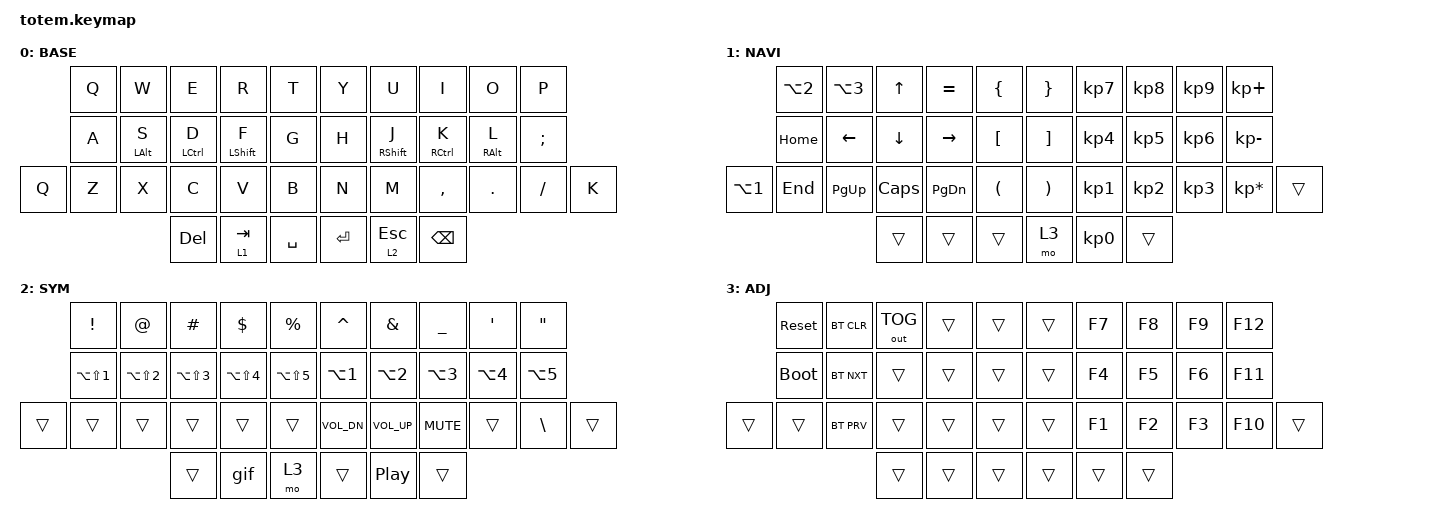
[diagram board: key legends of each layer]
//
//                                                        ▀▀▀▀▀     ▀▀▀▀▀          ▀▀█▀▀
//                                                        ▄▀▀▀▄  ▄  ▄▀▀▀▄  ▄  ▄▀▀▀▄  █  ▄▀▀▀▄
//                                                        █   █  █  █   █  █  █   █  █  █   █
//                                                         ▀▀▀   █   ▀▀▀   █   ▀▀▀   ▀   ▀▀▀
//                                                               █      ▄▄▄█▄▄▄    █   █  
//                                                               ▀      █  █  █     █▄█
//                                                             ▀▀▀▀▀    █  █  █      ▀
//                                                                      ▀  ▀  ▀
//
// ▄▄▄▄▄▄▄▄▄▄▄▄▄▄▄▄▄▄▄▄▄▄▄▄▄▄▄▄▄▄▄▄▄▄▄▄▄▄▄▄▄▄▄▄▄▄▄▄▄▄▄▄▄▄▄▄▄▄▄▄▄▄▄▄▄▄▄▄▄▄▄▄▄▄▄▄▄▄▄▄▄▄▄▄▄▄▄▄▄▄▄▄▄▄▄▄▄▄▄▄▄▄▄▄▄▄▄▄▄▄▄▄▄▄▄▄▄▄▄▄▄▄▄▄▄▄▄▄▄▄▄▄▄▄▄▄▄▄▄▄▄▄▄▄▄▄▄▄▄

#include <behaviors.dtsi>
#include <dt-bindings/zmk/bt.h>
#include <dt-bindings/zmk/keys.h>
#include <dt-bindings/zmk/outputs.h>

#define BASE 0
#define NAV  1
#define SYM  2
#define ADJ  3
#define TVP1 4
#define TVP2 5

&mt {
    quick-tap-ms = <100>;
    global-quick-tap;
    flavor = "tap-preferred";
    tapping-term-ms = <170>;
};

/ {
    combos {
        compatible = "zmk,combos";

        combo_esc {
            timeout-ms = <50>;
            key-positions = <0 1>;
            bindings = <&kp ESC>;
        };

        combo_tvp {
            timeout-ms = <100>;
            key-positions = <11 12 13>;
            bindings = <&tog 0>;
        };

        enter {
            bindings = <&kp ENTER>;
            key-positions = <3 4>;
        };
    };

    macros {
        gif: gif {
            label = "giphy";
            compatible = "zmk,behavior-macro";
            #binding-cells = <0>;
            bindings =
                <&macro_press>,
                <&kp LSHFT>,
                <&macro_tap>,
                <&kp N2>,
                <&macro_release>,
                <&kp LSHFT>,
                <&macro_tap>,
                <&kp G &kp I &kp F>;
        };
    };

    keymap {
        compatible = "zmk,keymap";

        // ▄▄▄▄▄▄▄▄▄▄▄▄▄▄▄▄▄▄▄▄▄▄▄▄▄▄▄▄▄▄▄▄▄▄▄▄▄▄▄▄▄▄▄▄▄▄▄▄▄▄▄▄▄▄▄▄▄▄▄▄▄▄▄▄▄▄▄▄▄▄▄▄▄▄▄▄▄▄▄▄▄▄▄▄▄▄▄▄▄▄▄▄▄▄▄▄▄▄▄▄▄▄▄▄▄▄▄▄▄▄▄▄▄▄▄▄▄▄▄▄▄▄▄▄▄▄▄▄▄▄▄▄▄▄▄▄▄▄▄▄▄▄▄▄▄▄▄▄▄

        base_layer {
            // ┏━━━━━━━━━━━━━━━━━━━━━━━━━━━━━━━━━━━━━━━┓

            label = "BASE";

            // ┗━━━━━━━━━━━━━━━━━━━━━━━━━━━━━━━━━━━━━━━┛
            //             ┏━━━━━━━━━━━┳━━━━━━━━━━━┳━━━━━━━━━━━┳━━━━━━━━━━━┳━━━━━━━━━━━┓   ┏━━━━━━━━━━━┳━━━━━━━━━━━┳━━━━━━━━━━━┳━━━━━━━━━━━┳━━━━━━━━━━━┓
            //             ┃     Q     ┃     W     ┃     F     ┃     P     ┃     G     ┃   ┃     J     ┃     L     ┃     U     ┃     Y     ┃     ;     ┃
            //             ┣━━━━━━━━━━━╋━━━━━━━━━━━╋━━━━━━━━━━━╋━━━━━━━━━━━╋━━━━━━━━━━━┫   ┣━━━━━━━━━━━╋━━━━━━━━━━━╋━━━━━━━━━━━╋━━━━━━━━━━━╋━━━━━━━━━━━┫
            //             ┃     A     ┃     R     ┃     S     ┃     T     ┃     D     ┃   ┃     H     ┃     N     ┃     E     ┃     I     ┃     O     ┃
            // ┏━━━━━━━━━━━╋━━━━━━━━━━━╋━━━━━━━━━━━╋━━━━━━━━━━━╋━━━━━━━━━━━╋━━━━━━━━━━━┫   ┣━━━━━━━━━━━╋━━━━━━━━━━━╋━━━━━━━━━━━╋━━━━━━━━━━━╋━━━━━━━━━━━╋━━━━━━━━━━━┓
            // ┃     Q     ┃     Z     ┃     X     ┃     C     ┃     V     ┃     B     ┃   ┃     K     ┃     M     ┃     ,     ┃     .     ┃     /     ┃     \     ┃
            // ┗━━━━━━━━━━━┻━━━━━━━━━━━┻━━━━━━━━━━━╋━━━━━━━━━━━╋━━━━━━━━━━━╋━━━━━━━━━━━┫   ┣━━━━━━━━━━━╋━━━━━━━━━━━╋━━━━━━━━━━━╋━━━━━━━━━━━┻━━━━━━━━━━━┻━━━━━━━━━━━┛
            //                                     ┃    DEL    ┃    TAB    ┃    SPC    ┃   ┃   ENTER   ┃           ┃   BSPC    ┃
            //                                     ┗━━━━━━━━━━━┻━━━━━━━━━━━┻━━━━━━━━━━━┛   ┗━━━━━━━━━━━┻━━━━━━━━━━━┻━━━━━━━━━━━┛

            bindings = <
       &kp Q  &kp W       &kp E        &kp R        &kp T        &kp Y    &kp U        &kp I        &kp O       &kp P
       &kp A  &mt LALT S  &mt LCTRL D  &mt LSHFT F  &kp G        &kp H    &mt RSHFT J  &mt RCTRL K  &mt RALT L  &kp SEMICOLON
&kp Q  &kp Z  &kp X       &kp C        &kp V        &kp B        &kp N    &kp M        &kp COMMA    &kp DOT     &kp FSLH       &kp K
                          &kp DEL      &lt 1 TAB    &kp SPACE    &kp RET  &lt 2 ESC    &kp BSPC
            >;
        };

        // ▄▄▄▄▄▄▄▄▄▄▄▄▄▄▄▄▄▄▄▄▄▄▄▄▄▄▄▄▄▄▄▄▄▄▄▄▄▄▄▄▄▄▄▄▄▄▄▄▄▄▄▄▄▄▄▄▄▄▄▄▄▄▄▄▄▄▄▄▄▄▄▄▄▄▄▄▄▄▄▄▄▄▄▄▄▄▄▄▄▄▄▄▄▄▄▄▄▄▄▄▄▄▄▄▄▄▄▄▄▄▄▄▄▄▄▄▄▄▄▄▄▄▄▄▄▄▄▄▄▄▄▄▄▄▄▄▄▄▄▄▄▄▄▄▄▄▄▄▄

        nav_layer {
            // ┏━━━━━━━━━━━━━━━━━━━━━━━━━━━━━━━━━━━━━━━┓

            label = "NAVI";

            // ┗━━━━━━━━━━━━━━━━━━━━━━━━━━━━━━━━━━━━━━━┛
            //             ┏━━━━━━━━━━━┳━━━━━━━━━━━┳━━━━━━━━━━━┳━━━━━━━━━━━┳━━━━━━━━━━━┓   ┏━━━━━━━━━━━┳━━━━━━━━━━━┳━━━━━━━━━━━┳━━━━━━━━━━━┳━━━━━━━━━━━┓
            //             ┃           ┃           ┃     UP    ┃           ┃     {     ┃   ┃     }     ┃     7     ┃     8     ┃     9     ┃     +     ┃
            //             ┣━━━━━━━━━━━╋━━━━━━━━━━━╋━━━━━━━━━━━╋━━━━━━━━━━━╋━━━━━━━━━━━┫   ┣━━━━━━━━━━━╋━━━━━━━━━━━╋━━━━━━━━━━━╋━━━━━━━━━━━╋━━━━━━━━━━━┫
            //             ┃   SHIFT   ┃   LEFT    ┃    DOWN   ┃   RIGHT   ┃     [     ┃   ┃     ]     ┃     4     ┃     5     ┃     6     ┃     -     ┃
            // ┏━━━━━━━━━━━╋━━━━━━━━━━━╋━━━━━━━━━━━╋━━━━━━━━━━━╋━━━━━━━━━━━╋━━━━━━━━━━━┫   ┣━━━━━━━━━━━╋━━━━━━━━━━━╋━━━━━━━━━━━╋━━━━━━━━━━━╋━━━━━━━━━━━╋━━━━━━━━━━━┓
            // ┃           ┃           ┃   P UP    ┃  C LOCK   ┃  P DOWN   ┃     (     ┃   ┃     )     ┃     1     ┃     2     ┃     3     ┃     *     ┃           ┃
            // ┗━━━━━━━━━━━┻━━━━━━━━━━━┻━━━━━━━━━━━╋━━━━━━━━━━━╋━━━━━━━━━━━╋━━━━━━━━━━━┫   ┣━━━━━━━━━━━╋━━━━━━━━━━━╋━━━━━━━━━━━╋━━━━━━━━━━━┻━━━━━━━━━━━┻━━━━━━━━━━━┛
            //                                     ┃           ┃    TAB    ┃    SPC    ┃   ┃    DEL    ┃     0     ┃           ┃
            //                                     ┗━━━━━━━━━━━┻━━━━━━━━━━━┻━━━━━━━━━━━┛   ┗━━━━━━━━━━━┻━━━━━━━━━━━┻━━━━━━━━━━━┛

            bindings = <
                  &kp LA(NUMBER_2)  &kp LA(NUMBER_3)  &kp UP    &kp EQUAL  &kp LBRC    &kp RBRC  &kp KP_N7  &kp KP_N8  &kp KP_N9  &kp KP_PLUS
                  &kp HOME          &kp LEFT          &kp DOWN  &kp RIGHT  &kp LBKT    &kp RBKT  &kp KP_N4  &kp KP_N5  &kp KP_N6  &kp KP_MINUS
&kp LA(NUMBER_1)  &kp END           &kp PG_UP         &kp CAPS  &kp PG_DN  &kp LPAR    &kp RPAR  &kp KP_N1  &kp KP_N2  &kp KP_N3  &kp KP_MULTIPLY  &trans
                                                      &trans    &trans     &trans      &mo 3     &kp KP_N0  &trans
            >;
        };

        // ▄▄▄▄▄▄▄▄▄▄▄▄▄▄▄▄▄▄▄▄▄▄▄▄▄▄▄▄▄▄▄▄▄▄▄▄▄▄▄▄▄▄▄▄▄▄▄▄▄▄▄▄▄▄▄▄▄▄▄▄▄▄▄▄▄▄▄▄▄▄▄▄▄▄▄▄▄▄▄▄▄▄▄▄▄▄▄▄▄▄▄▄▄▄▄▄▄▄▄▄▄▄▄▄▄▄▄▄▄▄▄▄▄▄▄▄▄▄▄▄▄▄▄▄▄▄▄▄▄▄▄▄▄▄▄▄▄▄▄▄▄▄▄▄▄▄▄▄▄

        sim_layer {
            // ┏━━━━━━━━━━━━━━━━━━━━━━━━━━━━━━━━━━━━━━━┓

            label = "SYM";

            // ┗━━━━━━━━━━━━━━━━━━━━━━━━━━━━━━━━━━━━━━━┛
            //             ┏━━━━━━━━━━━┳━━━━━━━━━━━┳━━━━━━━━━━━┳━━━━━━━━━━━┳━━━━━━━━━━━┓   ┏━━━━━━━━━━━┳━━━━━━━━━━━┳━━━━━━━━━━━┳━━━━━━━━━━━┳━━━━━━━━━━━┓
            //             ┃     !     ┃     @     ┃     #     ┃     $     ┃     %     ┃   ┃     ˆ     ┃     &     ┃     Ü     ┃     '     ┃     "     ┃
            //             ┣━━━━━━━━━━━╋━━━━━━━━━━━╋━━━━━━━━━━━╋━━━━━━━━━━━╋━━━━━━━━━━━┫   ┣━━━━━━━━━━━╋━━━━━━━━━━━╋━━━━━━━━━━━╋━━━━━━━━━━━╋━━━━━━━━━━━┫
            //             ┃     Ä     ┃           ┃    SZ     ┃           ┃           ┃   ┃   MUTE    ┃   YEN     ┃   EURO    ┃  POUND    ┃     Ö     ┃
            // ┏━━━━━━━━━━━╋━━━━━━━━━━━╋━━━━━━━━━━━╋━━━━━━━━━━━╋━━━━━━━━━━━╋━━━━━━━━━━━┫   ┣━━━━━━━━━━━╋━━━━━━━━━━━╋━━━━━━━━━━━╋━━━━━━━━━━━╋━━━━━━━━━━━╋━━━━━━━━━━━┓
            // ┃           ┃  EMAIL1   ┃  EMAIL2   ┃           ┃           ┃           ┃   ┃   VOL-    ┃   VOL+    ┃   LAST    ┃   NEXT    ┃     \     ┃           ┃
            // ┗━━━━━━━━━━━┻━━━━━━━━━━━┻━━━━━━━━━━━╋━━━━━━━━━━━╋━━━━━━━━━━━╋━━━━━━━━━━━┫   ┣━━━━━━━━━━━╋━━━━━━━━━━━╋━━━━━━━━━━━╋━━━━━━━━━━━┻━━━━━━━━━━━┻━━━━━━━━━━━┛
            //                                     ┃           ┃    GIF    ┃    ADJ    ┃   ┃           ┃           ┃           ┃
            //                                     ┗━━━━━━━━━━━┻━━━━━━━━━━━┻━━━━━━━━━━━┛   ┗━━━━━━━━━━━┻━━━━━━━━━━━┻━━━━━━━━━━━┛

            bindings = <
        &kp EXCL              &kp AT                &kp HASH              &kp DLLR              &kp PRCNT         &kp CARET         &kp AMPS          &kp UNDER         &kp SQT           &kp DQT
        &kp LA(LS(NUMBER_1))  &kp LA(LS(NUMBER_2))  &kp LA(LS(NUMBER_3))  &kp LA(LS(NUMBER_4))  &kp LA(LS(N5))    &kp LA(NUMBER_1)  &kp LA(NUMBER_2)  &kp LA(NUMBER_3)  &kp LA(NUMBER_4)  &kp LA(N5)
&trans  &trans                &trans                &trans                &trans                &trans            &kp C_VOL_DN      &kp C_VOL_UP      &kp C_MUTE        &trans            &kp BSLH    &trans
                                                    &trans                &gif                  &mo 3             &trans            &kp C_PP          &trans
            >;
        };

        // ▄▄▄▄▄▄▄▄▄▄▄▄▄▄▄▄▄▄▄▄▄▄▄▄▄▄▄▄▄▄▄▄▄▄▄▄▄▄▄▄▄▄▄▄▄▄▄▄▄▄▄▄▄▄▄▄▄▄▄▄▄▄▄▄▄▄▄▄▄▄▄▄▄▄▄▄▄▄▄▄▄▄▄▄▄▄▄▄▄▄▄▄▄▄▄▄▄▄▄▄▄▄▄▄▄▄▄▄▄▄▄▄▄▄▄▄▄▄▄▄▄▄▄▄▄▄▄▄▄▄▄▄▄▄▄▄▄▄▄▄▄▄▄▄▄▄▄▄▄

        adjust_layer {
            // ┏━━━━━━━━━━━━━━━━━━━━━━━━━━━━━━━━━━━━━━━┓

            label = "ADJ";

            // ┗━━━━━━━━━━━━━━━━━━━━━━━━━━━━━━━━━━━━━━━┛
            //             ┏━━━━━━━━━━━┳━━━━━━━━━━━┳━━━━━━━━━━━┳━━━━━━━━━━━┳━━━━━━━━━━━┓   ┏━━━━━━━━━━━┳━━━━━━━━━━━┳━━━━━━━━━━━┳━━━━━━━━━━━┳━━━━━━━━━━━┓
            //             ┃   RESET   ┃ BT CLEAR  ┃  OUT TOG  ┃           ┃           ┃   ┃           ┃    F7     ┃    F8     ┃    F9     ┃    F12    ┃
            //             ┣━━━━━━━━━━━╋━━━━━━━━━━━╋━━━━━━━━━━━╋━━━━━━━━━━━╋━━━━━━━━━━━┫   ┣━━━━━━━━━━━╋━━━━━━━━━━━╋━━━━━━━━━━━╋━━━━━━━━━━━╋━━━━━━━━━━━┫
            //             ┃ BOOTLOAD  ┃ BT NEXT   ┃           ┃           ┃           ┃   ┃           ┃    F4     ┃    F5     ┃    F6     ┃    F11    ┃
            // ┏━━━━━━━━━━━╋━━━━━━━━━━━╋━━━━━━━━━━━╋━━━━━━━━━━━╋━━━━━━━━━━━╋━━━━━━━━━━━┫   ┣━━━━━━━━━━━╋━━━━━━━━━━━╋━━━━━━━━━━━╋━━━━━━━━━━━╋━━━━━━━━━━━╋━━━━━━━━━━━┓
            // ┃           ┃           ┃ BT PREV   ┃           ┃           ┃           ┃   ┃           ┃    F1     ┃    F2     ┃    F3     ┃    F10    ┃           ┃
            // ┗━━━━━━━━━━━┻━━━━━━━━━━━┻━━━━━━━━━━━╋━━━━━━━━━━━╋━━━━━━━━━━━╋━━━━━━━━━━━┫   ┣━━━━━━━━━━━╋━━━━━━━━━━━╋━━━━━━━━━━━╋━━━━━━━━━━━┻━━━━━━━━━━━┻━━━━━━━━━━━┛
            //                                     ┃           ┃           ┃           ┃   ┃           ┃           ┃           ┃
            //                                     ┗━━━━━━━━━━━┻━━━━━━━━━━━┻━━━━━━━━━━━┛   ┗━━━━━━━━━━━┻━━━━━━━━━━━┻━━━━━━━━━━━┛

            bindings = <
        &sys_reset   &bt BT_CLR  &out OUT_TOG  &trans  &trans    &trans  &kp F7  &kp F8  &kp F9  &kp F12
        &bootloader  &bt BT_NXT  &trans        &trans  &trans    &trans  &kp F4  &kp F5  &kp F6  &kp F11
&trans  &trans       &bt BT_PRV  &trans        &trans  &trans    &trans  &kp F1  &kp F2  &kp F3  &kp F10  &trans
                                 &trans        &trans  &trans    &trans  &trans  &trans
            >;
        };

        // ▄▄▄▄▄▄▄▄▄▄▄▄▄▄▄▄▄▄▄▄▄▄▄▄▄▄▄▄▄▄▄▄▄▄▄▄▄▄▄▄▄▄▄▄▄▄▄▄▄▄▄▄▄▄▄▄▄▄▄▄▄▄▄▄▄▄▄▄▄▄▄▄▄▄▄▄▄▄▄▄▄▄▄▄▄▄▄▄▄▄▄▄▄▄▄▄▄▄▄▄▄▄▄▄▄▄▄▄▄▄▄▄▄▄▄▄▄▄▄▄▄▄▄▄▄▄▄▄▄▄▄▄▄▄▄▄▄▄▄▄▄▄▄▄▄▄▄▄▄
        // ▄▄▄▄▄▄▄▄▄▄▄▄▄▄▄▄▄▄▄▄▄▄▄▄▄▄▄▄▄▄▄▄▄▄▄▄▄▄▄▄▄▄▄▄▄▄▄▄▄▄▄▄▄▄▄▄▄▄▄▄▄▄▄▄▄▄▄▄▄▄▄▄▄▄▄▄▄▄▄▄▄▄▄▄▄▄▄▄▄▄▄▄▄▄▄▄▄▄▄▄▄▄▄▄▄▄▄▄▄▄▄▄▄▄▄▄▄▄▄▄▄▄▄▄▄▄▄▄▄▄▄▄▄▄▄▄▄▄▄▄▄▄▄▄▄▄▄▄▄
    };
};
